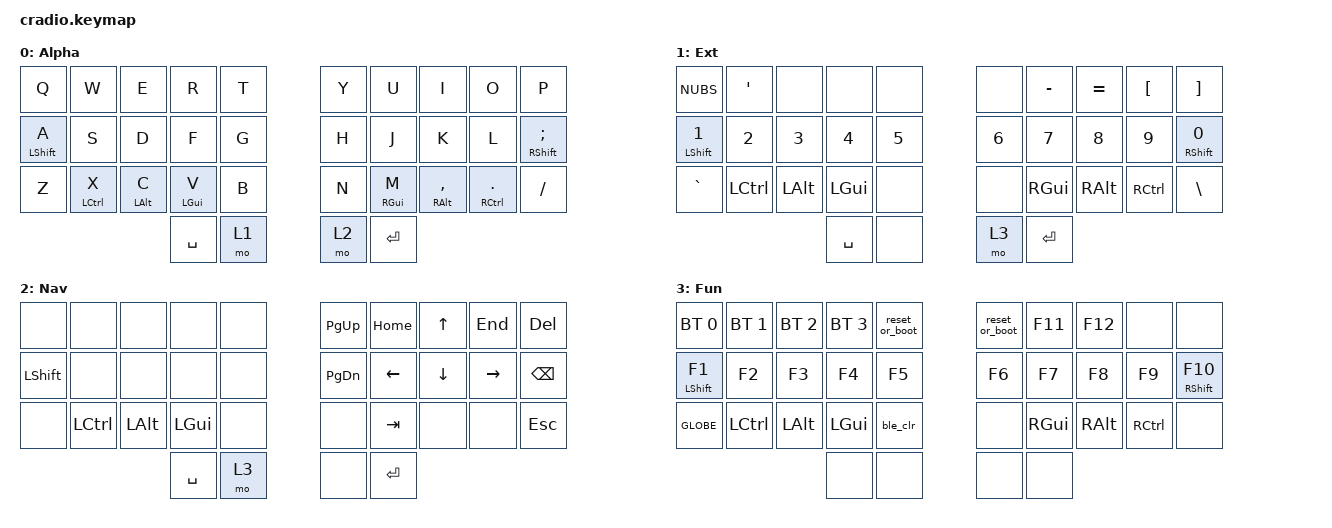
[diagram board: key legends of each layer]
// Copyright (c) 2022 The ZMK Contributors
// SPDX-License-Identifier: MIT


#include <behaviors.dtsi>
#include <dt-bindings/zmk/keys.h>
#include <dt-bindings/zmk/bt.h>

// Aliases

#define LEFT_HALF   0  1  2  3  4 10 11 12 13 14 20 21 22 23 24 
#define RIGHT_HALF  5  6  7  8  9 15 16 17 18 19 25 26 27 28 29
#define THUMBS     30 31 32 33

// Layers
#define DEF   0
#define NUM   1
#define SYM   2
#define FUN   3

// Constants
#define TAPPING_TERM    300  // tapping-term-ms = <300>;
#define QUICK_TAP_TERM  250  // quick-tap-ms = <250>;
#define COMBO_TIMEOUT_2  50  // timeout-ms for 2 fingers cofbos
#define COMBO_TIMEOUT_3  80  // timeout-ms for 3 fingers combos

// Tune-up built-in behaviors
&sk {
    release-after-ms = <1500>;
    quick-release;
};
&lt {
    tapping-term-ms = <TAPPING_TERM>;
    quick-tap-ms = <QUICK_TAP_TERM>;
    flavor = "balanced";
 };
&mt {
    tapping-term-ms = <TAPPING_TERM>;
    quick-tap-ms = <QUICK_TAP_TERM>;
    flavor = "balanced";
 };

/ {

combos {
    compatible = "zmk,combos";
    studio_unlock      { key-positions = < 0 1 2 >;  bindings = <&studio_unlock>;    timeout-ms = < COMBO_TIMEOUT_3 >; layers = < FUN >; };

    copy_cut           { key-positions = < 11 13 >;  bindings = <&td_copy_cut>;      timeout-ms = < COMBO_TIMEOUT_2 >; layers = < DEF >; };
    paste              { key-positions = < 1 3 >;    bindings = <&kp LG(V)>;         timeout-ms = < COMBO_TIMEOUT_2 >; layers = < DEF >; };
    undo               { key-positions = < 10 13 >;  bindings = <&kp LG(Z)>;         timeout-ms = < COMBO_TIMEOUT_2 >; layers = < DEF >; };
    redo               { key-positions = < 0 3 >;    bindings = <&kp LS(LG(Z))>;     timeout-ms = < COMBO_TIMEOUT_2 >; layers = < DEF >; };

    escape_left        { key-positions = < 1 2 >;   bindings = <&kp ESC>;           timeout-ms = < COMBO_TIMEOUT_2 >; };
    escape_right       { key-positions = < 7 8 >;    bindings = <&kp ESC>;           timeout-ms = < COMBO_TIMEOUT_2 >; };
    enter_left         { key-positions = < 11 12 >;  bindings = <&kp ENTER>;         timeout-ms = < COMBO_TIMEOUT_2 >; };
    enter_right        { key-positions = < 17 18 >;  bindings = <&kp ENTER>;         timeout-ms = < COMBO_TIMEOUT_2 >; };
    backspace_left     { key-positions = < 2 13 >;   bindings = <&kp BACKSPACE>;     timeout-ms = < COMBO_TIMEOUT_2 >; };
    backspace_right    { key-positions = < 16 7 >;   bindings = <&kp BACKSPACE>;     timeout-ms = < COMBO_TIMEOUT_2 >; };
    alt_backspace_left { key-positions = < 1 2 13 >; bindings = <&kp LA(BACKSPACE)>; timeout-ms = < COMBO_TIMEOUT_3 >; };
    alt_backspace_right{ key-positions = < 16 7 8 >; bindings = <&kp LA(BACKSPACE)>; timeout-ms = < COMBO_TIMEOUT_3 >; };
    delete_left        { key-positions = < 11 2 >;   bindings = <&kp DEL>;           timeout-ms = < COMBO_TIMEOUT_2 >; };
    delete_right       { key-positions = < 7 18 >;   bindings = <&kp DEL>;           timeout-ms = < COMBO_TIMEOUT_2 >; };
    tab_left           { key-positions = < 2 3 >;    bindings = <&kp TAB>;           timeout-ms = < COMBO_TIMEOUT_2 >; };
    tab_right          { key-positions = < 6 7 >;    bindings = <&kp TAB>;           timeout-ms = < COMBO_TIMEOUT_2 >; };
};

behaviors {
    td_copy_cut: tap_dance_copy_cut {
        compatible = "zmk,behavior-tap-dance";
        #binding-cells = <0>;
        tapping-term-ms = <200>;
        bindings = <&kp LG(C)>, <&kp LG(X)>;
    };
    reset_or_boot: reset_or_boot {
        compatible = "zmk,behavior-tap-dance";
        #binding-cells = <0>;
        tapping-term-ms = <500>;
        bindings = <&sys_reset>, <&bootloader>;
    };
    ble_clr: ble_clr {
        compatible = "zmk,behavior-tap-dance";
        #binding-cells = <0>;
        tapping-term-ms = <500>;
        bindings = <&none>, <&bt BT_CLR>;
    };

    hml: home_row_mod_left {
        compatible = "zmk,behavior-hold-tap";
        #binding-cells = <2>;
        flavor = "balanced";
        require-prior-idle-ms = <150>;
        tapping-term-ms = <280>;
        quick-tap-ms = <175>;
        bindings = <&kp>, <&kp>;
        hold-trigger-key-positions = < RIGHT_HALF >; // List of keys on the right side of the keyboard
        hold-trigger-on-release;
    };
    hmr: home_row_mod_right {
        compatible = "zmk,behavior-hold-tap";
        #binding-cells = <2>;
        flavor = "balanced";
        require-prior-idle-ms = <150>;
        tapping-term-ms = <280>;
        quick-tap-ms = <175>;
        bindings = <&kp>, <&kp>;
        hold-trigger-key-positions = < LEFT_HALF >; // List of keys on the left side of the keyboard
        hold-trigger-on-release;
    };
  };


keymap {
    compatible = "zmk,keymap";

    DEF {
        display-name = "Alpha";
        bindings = <
&kp Q          &kp W          &kp E          &kp R         &kp T           &kp Y          &kp U          &kp I           &kp O          &kp P
&hml LSHFT A   &kp S          &kp D          &kp F         &kp G           &kp H          &kp J          &kp K           &kp L          &hmr RSHFT SEMI
&kp Z          &hml LCTRL X   &hml LALT C    &hml LGUI V   &kp B           &kp N          &hmr RGUI M    &hmr RALT COMMA &hmr RCTRL DOT &kp FSLH
                                             &kp SPACE     &mo 1           &mo 2          &kp ENTER 
        >;
    };

    NUM {
        display-name = "Ext";
        bindings = <
&kp NUBS       &kp SQT        &none          &none         &none           &none          &kp MINUS      &kp EQUAL      &kp LBKT       &kp RBKT
&hml LSHFT N1  &kp N2         &kp N3         &kp N4        &kp N5          &kp N6         &kp N7         &kp N8         &kp N9         &hmr RSHFT N0
&kp GRAVE      &kp LCTRL      &kp LALT       &kp LGUI      &none           &none          &kp RGUI       &kp RALT       &kp RCTRL      &kp BSLH
                                             &kp SPACE     &none           &mo 3          &kp ENTER
        >;
    };

    NAV {
        display-name = "Nav";
        bindings = <
&none          &none          &none          &none         &none           &kp PG_UP      &kp HOME       &kp UP         &kp END        &kp DEL
&kp LSHIFT     &none          &none          &none         &none           &kp PG_DN      &kp LEFT       &kp DOWN       &kp RIGHT      &kp BSPC
&none          &kp LCTRL      &kp LALT       &kp LGUI      &none           &none          &kp TAB        &none          &none          &kp ESCAPE
                                             &kp SPACE     &mo 3           &none          &kp ENTER
        >;
    };

     FUN {
        display-name = "Fun";
        bindings = <
&bt BT_SEL 0   &bt BT_SEL 1   &bt BT_SEL 2   &bt BT_SEL 3  &reset_or_boot  &reset_or_boot &kp F11        &kp F12        &none          &none
&hml LSHFT F1  &kp F2         &kp F3         &kp F4        &kp F5          &kp F6         &kp F7         &kp F8         &kp F9         &hmr RSHFT F10
&kp GLOBE      &kp LCTRL      &kp LALT       &kp LGUI      &ble_clr        &none          &kp RGUI       &kp RALT       &kp RCTRL      &none
                                             &none         &none           &none          &none
        >;
    };
};
};
